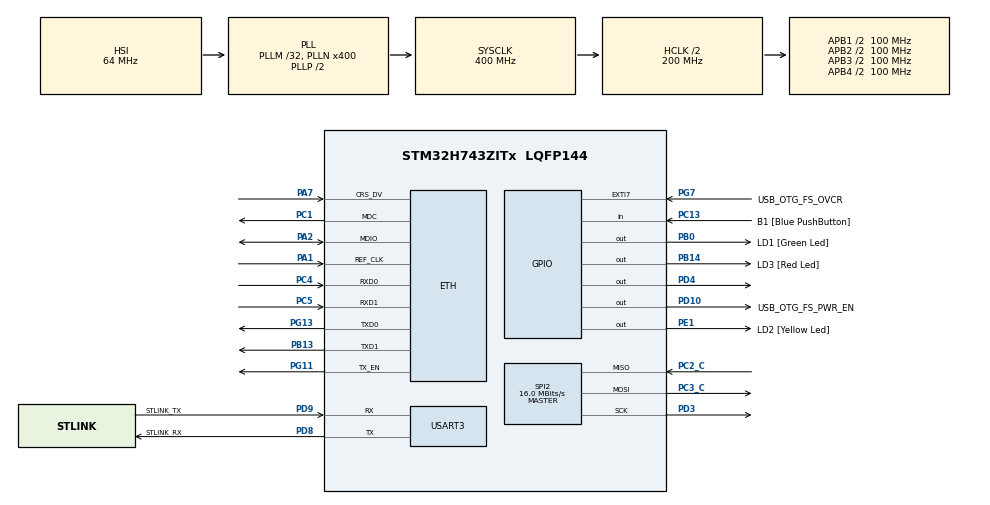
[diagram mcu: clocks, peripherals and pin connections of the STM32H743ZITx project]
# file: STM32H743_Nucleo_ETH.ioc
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CORTEX_M7.AccessPermission_S-Cortex_Memory_Protection_Unit_Region1_Settings_S=MPU_REGION_FULL_ACCESS
CORTEX_M7.AccessPermission_S-Cortex_Memory_Protection_Unit_Region2_Settings_S=MPU_REGION_FULL_ACCESS
CORTEX_M7.BaseAddress_S-Cortex_Memory_Protection_Unit_Region1_Settings_S=0x30020000
CORTEX_M7.BaseAddress_S-Cortex_Memory_Protection_Unit_Region2_Settings_S=0x30040000
CORTEX_M7.CPU_DCache=Enabled
CORTEX_M7.CPU_ICache=Enabled
CORTEX_M7.DisableExec_S-Cortex_Memory_Protection_Unit_Region1_Settings_S=MPU_INSTRUCTION_ACCESS_DISABLE
CORTEX_M7.DisableExec_S-Cortex_Memory_Protection_Unit_Region2_Settings_S=MPU_INSTRUCTION_ACCESS_DISABLE
CORTEX_M7.Enable_S-Cortex_Memory_Protection_Unit_Region1_Settings_S=MPU_REGION_ENABLE
CORTEX_M7.Enable_S-Cortex_Memory_Protection_Unit_Region2_Settings_S=MPU_REGION_ENABLE
CORTEX_M7.IsBufferable_S-Cortex_Memory_Protection_Unit_Region2_Settings_S=MPU_ACCESS_BUFFERABLE
CORTEX_M7.IsShareable_S-Cortex_Memory_Protection_Unit_Region2_Settings_S=MPU_ACCESS_SHAREABLE
CORTEX_M7.Size_S-Cortex_Memory_Protection_Unit_Region1_Settings_S=MPU_REGION_SIZE_128KB
CORTEX_M7.Size_S-Cortex_Memory_Protection_Unit_Region2_Settings_S=MPU_REGION_SIZE_512B
CORTEX_M7.TypeExtField_S-Cortex_Memory_Protection_Unit_Region1_Settings_S=MPU_TEX_LEVEL1
CORTEX_M7.default_mode_Activation=1
ETH.MediaInterface=HAL_ETH_RMII_MODE
ETH.RxBuffLen=1536
ETH.RxDescAddress=0x30040000
ETH.TxDescAddress=0x30040200
FREERTOS.Tasks01=defaultTask,24,16384,StartDefaultTask,Default,NULL,Dynamic,NULL,NULL
FREERTOS.configCHECK_FOR_STACK_OVERFLOW=1
FREERTOS.configMINIMAL_STACK_SIZE=512
FREERTOS.configTOTAL_HEAP_SIZE=131072
FREERTOS.configUSE_NEWLIB_REENTRANT=1
FREERTOS.configUSE_STATS_FORMATTING_FUNCTIONS=1
LWIP.BSP.number=1
LWIP.DEFAULT_THREAD_STACKSIZE=2048
LWIP.GATEWAY_ADDRESS=010.000.004.001
LWIP.IP_ADDRESS=100.000.004.090
LWIP.LWIP_DHCP=1
LWIP.LWIP_HTTPD=1
LWIP.LWIP_RAM_HEAP_POINTER=0x30020000
LWIP.MEM_SIZE=131048
LWIP.NETMASK_ADDRESS=255.255.255.000
LWIP.PBUF_POOL_BUFSIZE=592
LWIP.TCPIP_THREAD_STACKSIZE=2048
LWIP.TCP_MSS=1460
LWIP.TCP_SND_BUF=5840
LWIP.TCP_SND_QUEUELEN=16
LWIP.Version=v2.1.2_Cube
LWIP0.BSP.STBoard=false
LWIP0.BSP.api=BSP_COMPONENT_DRIVER
LWIP0.BSP.component=LAN8742
LWIP0.BSP.instance=LAN8742
LWIP0.BSP.name=Driver_PHY
LWIP0.BSP.semaphore=S_LAN8742
LWIP0.BSP.solution=LAN8742
Mcu.Family=STM32H7
Mcu.Name=STM32H743ZITx
Mcu.Package=LQFP144
NVIC.ETH_IRQn=true\:5\:0\:false\:false\:true\:true\:true\:true\:true
NVIC.PriorityGroup=NVIC_PRIORITYGROUP_4
NVIC.TIM6_DAC_IRQn=true\:15\:0\:false\:false\:true\:false\:false\:true\:true
NVIC.TimeBase=TIM6_DAC_IRQn
NVIC.TimeBaseIP=TIM6
PA1.GPIO_Speed=GPIO_SPEED_FREQ_VERY_HIGH
PA1.Mode=RMII
PA1.Signal=ETH_REF_CLK
PA11.Signal=USB_OTG_FS_DM
PA12.Signal=USB_OTG_FS_DP
PA2.GPIO_Speed=GPIO_SPEED_FREQ_VERY_HIGH
PA2.Mode=RMII
PA2.Signal=ETH_MDIO
PA7.GPIO_Speed=GPIO_SPEED_FREQ_VERY_HIGH
PA7.Mode=RMII
PA7.Signal=ETH_CRS_DV
PA8.Signal=USB_OTG_FS_SOF
PA9.Signal=USB_OTG_FS_VBUS
PB0.GPIO_Label=LD1 [Green Led]
PB0.Signal=GPIO_Output
PB13.GPIO_Speed=GPIO_SPEED_FREQ_VERY_HIGH
PB13.Mode=RMII
PB13.Signal=ETH_TXD1
PB14.GPIO_Label=LD3 [Red Led]
PB14.Signal=GPIO_Output
PC1.GPIO_Speed=GPIO_SPEED_FREQ_VERY_HIGH
PC1.Mode=RMII
PC1.Signal=ETH_MDC
PC13.GPIO_Label=B1 [Blue PushButton]
PC13.Signal=GPIO_Input
PC14-OSC32_IN\ (OSC32_IN).Signal=RCC_OSC32_IN
PC15-OSC32_OUT\ (OSC32_OUT).Signal=RCC_OSC32_OUT
PC2_C.GPIO_Speed=GPIO_SPEED_FREQ_VERY_HIGH
PC2_C.Mode=Full_Duplex_Master
PC2_C.Signal=SPI2_MISO
PC3_C.GPIO_Speed=GPIO_SPEED_FREQ_VERY_HIGH
PC3_C.Mode=Full_Duplex_Master
PC3_C.Signal=SPI2_MOSI
PC4.GPIO_Speed=GPIO_SPEED_FREQ_VERY_HIGH
PC4.Mode=RMII
PC4.Signal=ETH_RXD0
PC5.GPIO_Speed=GPIO_SPEED_FREQ_VERY_HIGH
PC5.Mode=RMII
PC5.Signal=ETH_RXD1
PD10.GPIO_Label=USB_OTG_FS_PWR_EN
PD10.Signal=GPIO_Output
PD3.GPIO_Speed=GPIO_SPEED_FREQ_VERY_HIGH
PD3.Mode=Full_Duplex_Master
PD3.Signal=SPI2_SCK
PD4.GPIO_ModeDefaultOutputPP=GPIO_MODE_OUTPUT_PP
PD4.GPIO_PuPd=GPIO_NOPULL
PD4.GPIO_Speed=GPIO_SPEED_FREQ_VERY_HIGH
PD4.PinState=GPIO_PIN_SET
PD4.Signal=GPIO_Output
PD8.GPIO_Label=STLINK_RX
PD8.Mode=Asynchronous
PD8.Signal=USART3_TX
PD9.GPIO_Label=STLINK_TX
PD9.Mode=Asynchronous
PD9.Signal=USART3_RX
PE1.GPIO_Label=LD2 [Yellow Led]
PE1.Signal=GPIO_Output
PG11.GPIO_Speed=GPIO_SPEED_FREQ_VERY_HIGH
PG11.Mode=RMII
PG11.Signal=ETH_TX_EN
PG13.GPIO_Speed=GPIO_SPEED_FREQ_VERY_HIGH
PG13.Mode=RMII
PG13.Signal=ETH_TXD0
PG7.GPIO_Label=USB_OTG_FS_OVCR
PG7.Signal=GPXTI7
PH0-OSC_IN\ (PH0).Signal=RCC_OSC_IN
PH1-OSC_OUT\ (PH1).Signal=RCC_OSC_OUT
ProjectManager.HeapSize=0x200
ProjectManager.StackSize=0x400
ProjectManager.TargetToolchain=STM32CubeIDE
RCC.ADCFreq_Value=129000000
RCC.APB1Freq_Value=100000000
RCC.APB2Freq_Value=100000000
RCC.APB3Freq_Value=100000000
RCC.APB4Freq_Value=100000000
RCC.CortexFreq_Value=400000000
RCC.D1PPRE=RCC_APB3_DIV2
RCC.D2PPRE1=RCC_APB1_DIV2
RCC.D2PPRE2=RCC_APB2_DIV2
RCC.D3PPRE=RCC_APB4_DIV2
RCC.DIVN1=400
RCC.HCLKFreq_Value=200000000
RCC.HPRE=RCC_HCLK_DIV2
RCC.SPI123CLockSelection=RCC_SPI123CLKSOURCE_CLKP
RCC.SYSCLKFreq_VALUE=400000000
RCC.SYSCLKSource=RCC_SYSCLKSOURCE_PLLCLK
RCC.USBFreq_Value=400000000
SPI2.BaudRatePrescaler=SPI_BAUDRATEPRESCALER_4
SPI2.CalculateBaudRate=16.0 MBits/s
SPI2.DataSize=SPI_DATASIZE_8BIT
SPI2.Direction=SPI_DIRECTION_2LINES
SPI2.Mode=SPI_MODE_MASTER
SPI2.NSSPMode=SPI_NSS_PULSE_ENABLE
SPI2.VirtualType=VM_MASTER
USART3.VirtualMode-Asynchronous=VM_ASYNC
VP_FREERTOS_VS_CMSIS_V2.Mode=CMSIS_V2
VP_LWIP_VS_Enabled.Mode=Enabled
VP_MEMORYMAP_VS_MEMORYMAP.Mode=CurAppReg
VP_RNG_VS_RNG.Mode=RNG_Activate
VP_RTC_VS_RTC_Activate.Mode=RTC_Enabled
VP_SYS_VS_tim6.Mode=TIM6
VP_wolfSSL.I-CUBE-wolfSSL_VS_wolfSSLJjwolfSSL_5.7.2_5.7.2.Mode=wolfSSLJjwolfSSL
VP_wolfSSL.I-CUBE-wolfTPM_VS_wolfTPMJjwolfTPM_3.4.0_3.4.0.Mode=wolfTPMJjwolfTPM
board=NUCLEO-H743ZI2
wolfSSL.I-CUBE-wolfSSL.5.7.2.WOLF_CONF_ARMASM=1
wolfSSL.I-CUBE-wolfSSL.5.7.2.WOLF_CONF_MATH=4
wolfSSL.I-CUBE-wolfSSL.5.7.2.WOLF_CONF_RTOS=2
wolfSSL.I-CUBE-wolfSSL.5.7.2.wolfSSLCcwolfSSLJjwolfCryptJjCore=true
wolfSSL.I-CUBE-wolfSSL.5.7.2.wolfSSLCcwolfSSLJjwolfCryptJjTest=true
wolfSSL.I-CUBE-wolfSSL.5.7.2.wolfSSLCcwolfSSLJjwolfSSLJjCore=true
wolfSSL.I-CUBE-wolfTPM.3.4.0.WOLFTPM_CONF_DEBUG=1
wolfSSL.I-CUBE-wolfTPM.3.4.0.WOLFTPM_CONF_HW_SPI=0
wolfSSL.I-CUBE-wolfTPM.3.4.0.WOLFTPM_CONF_SMALL_STACK=1
wolfSSL.I-CUBE-wolfTPM.3.4.0.wolfTPMCcwolfTPMJjwolfTPMJjCore=true
wolfSSL.I-CUBE-wolfTPM.3.4.0.wolfTPMCcwolfTPMJjwolfTPMJjTest=true

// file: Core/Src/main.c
/* USER CODE BEGIN Header */
/**
  ******************************************************************************
  * @file           : main.c
  * @brief          : Main program body
  ******************************************************************************
  * @attention
  *
  * Copyright (c) 2022 STMicroelectronics.
  * All rights reserved.
  *
  * This software is licensed under terms that can be found in the LICENSE file
  * in the root directory of this software component.
  * If no LICENSE file comes with this software, it is provided AS-IS.
  *
  ******************************************************************************
  */
/* USER CODE END Header */
#include "main.h"
#include "cmsis_os.h"
#include "lwip.h"

/* USER CODE BEGIN Includes */
#include <wolftpm/tpm2_wrap.h>
#include <hal/tpm_io.h>

#include "https_server_wolf.h"

/* ETH_CODE: add lwiperf, see comment in StartDefaultTask function */
#include "lwip/apps/lwiperf.h"
/* USER CODE END Includes */

RNG_HandleTypeDef hrng;

RTC_HandleTypeDef hrtc;

SPI_HandleTypeDef hspi2;

UART_HandleTypeDef huart3;

/* Definitions for defaultTask */
osThreadId_t defaultTaskHandle;
const osThreadAttr_t defaultTask_attributes = {
  .name = "defaultTask",
  .stack_size = 16384 * 4,
  .priority = (osPriority_t) osPriorityNormal,
};
/* USER CODE BEGIN PV */
WOLFTPM2_DEV dev;
/* USER CODE END PV */

void SystemClock_Config(void);
void PeriphCommonClock_Config(void);
static void MPU_Config(void);
static void MX_GPIO_Init(void);
static void MX_SPI2_Init(void);
static void MX_USART3_UART_Init(void);
static void MX_RNG_Init(void);
static void MX_RTC_Init(void);
void StartDefaultTask(void *argument);

/* USER CODE BEGIN PFP */
extern void wolf_shell(void *argument);
/* USER CODE END PFP */

/* USER CODE BEGIN 0 */
/**
  * @brief  Retargets the C library printf function to the USART.
  * @param  None
  * @retval None
  */
#include <stdio.h>
#ifdef __GNUC__
/* With GCC, small printf (option LD Linker->Libraries->Small printf
   set to 'Yes') calls __io_putchar() */
int __io_putchar(int ch)
#else
int fputc(int ch, FILE *f)
#endif /* __GNUC__ */
{
  /* Place your implementation of fputc here */
  /* e.g. write a character to the LPUART1 and Loop until the end of transmission */
  HAL_UART_Transmit(&huart3, (uint8_t *)&ch, 1, 0xFFFF);

  return ch;
}
#ifdef __GNUC__
int _write(int file,char *ptr, int len)
{
 int DataIdx;
 for(DataIdx= 0; DataIdx< len; DataIdx++)
 {
 __io_putchar(*ptr++);
 }
return len;
}
#endif
/* USER CODE END 0 */

int main(void)
{

  /* MPU Configuration--------------------------------------------------------*/
  MPU_Config();

  /* Enable the CPU Cache */

  /* Enable I-Cache---------------------------------------------------------*/
  SCB_EnableICache();

  /* Enable D-Cache---------------------------------------------------------*/
  SCB_EnableDCache();

  /* MCU Configuration--------------------------------------------------------*/

  /* Reset of all peripherals, Initializes the Flash interface and the Systick. */
  HAL_Init();

  /* USER CODE BEGIN Init */
  // Turn off buffers, so I/O occurs immediately
  setvbuf(stdin, NULL, _IONBF, 0);
  setvbuf(stdout, NULL, _IONBF, 0);
  setvbuf(stderr, NULL, _IONBF, 0);
  /* USER CODE END Init */

  /* Configure the system clock */
  SystemClock_Config();

  /* Configure the peripherals common clocks */
  PeriphCommonClock_Config();

  /* Initialize all configured peripherals */
  MX_GPIO_Init();
  MX_SPI2_Init();
  MX_USART3_UART_Init();
  MX_RNG_Init();
  MX_RTC_Init();
  /* USER CODE BEGIN 2 */
  printf("Starting HTTPS w/TPM Demo\n");
  /* USER CODE END 2 */

  /* Init scheduler */
  osKernelInitialize();

  /* Create the thread(s) */
  /* creation of defaultTask */
  defaultTaskHandle = osThreadNew(StartDefaultTask, NULL, &defaultTask_attributes);

  /* Start scheduler */
  osKernelStart();

  /* We should never get here as control is now taken by the scheduler */

  /* Infinite loop */
  while (1)
  {

  }
}

void SystemClock_Config(void)
{
  RCC_OscInitTypeDef RCC_OscInitStruct = {0};
  RCC_ClkInitTypeDef RCC_ClkInitStruct = {0};

  /** Supply configuration update enable
  */
  HAL_PWREx_ConfigSupply(PWR_LDO_SUPPLY);

  /** Configure the main internal regulator output voltage
  */
  __HAL_PWR_VOLTAGESCALING_CONFIG(PWR_REGULATOR_VOLTAGE_SCALE1);

  while(!__HAL_PWR_GET_FLAG(PWR_FLAG_VOSRDY)) {}

  /** Initializes the RCC Oscillators according to the specified parameters
  * in the RCC_OscInitTypeDef structure.
  */
  RCC_OscInitStruct.OscillatorType = RCC_OSCILLATORTYPE_HSI48|RCC_OSCILLATORTYPE_HSI
                              |RCC_OSCILLATORTYPE_LSI;
  RCC_OscInitStruct.HSIState = RCC_HSI_DIV1;
  RCC_OscInitStruct.HSICalibrationValue = RCC_HSICALIBRATION_DEFAULT;
  RCC_OscInitStruct.LSIState = RCC_LSI_ON;
  RCC_OscInitStruct.HSI48State = RCC_HSI48_ON;
  RCC_OscInitStruct.PLL.PLLState = RCC_PLL_ON;
  RCC_OscInitStruct.PLL.PLLSource = RCC_PLLSOURCE_HSI;
  RCC_OscInitStruct.PLL.PLLM = 32;
  RCC_OscInitStruct.PLL.PLLN = 400;
  RCC_OscInitStruct.PLL.PLLP = 2;
  RCC_OscInitStruct.PLL.PLLQ = 2;
  RCC_OscInitStruct.PLL.PLLR = 2;
  RCC_OscInitStruct.PLL.PLLRGE = RCC_PLL1VCIRANGE_1;
  RCC_OscInitStruct.PLL.PLLVCOSEL = RCC_PLL1VCOWIDE;
  RCC_OscInitStruct.PLL.PLLFRACN = 0;
  if (HAL_RCC_OscConfig(&RCC_OscInitStruct) != HAL_OK)
  {
    Error_Handler();
  }

  /** Initializes the CPU, AHB and APB buses clocks
  */
  RCC_ClkInitStruct.ClockType = RCC_CLOCKTYPE_HCLK|RCC_CLOCKTYPE_SYSCLK
                              |RCC_CLOCKTYPE_PCLK1|RCC_CLOCKTYPE_PCLK2
                              |RCC_CLOCKTYPE_D3PCLK1|RCC_CLOCKTYPE_D1PCLK1;
  RCC_ClkInitStruct.SYSCLKSource = RCC_SYSCLKSOURCE_PLLCLK;
  RCC_ClkInitStruct.SYSCLKDivider = RCC_SYSCLK_DIV1;
  RCC_ClkInitStruct.AHBCLKDivider = RCC_HCLK_DIV2;
  RCC_ClkInitStruct.APB3CLKDivider = RCC_APB3_DIV2;
  RCC_ClkInitStruct.APB1CLKDivider = RCC_APB1_DIV2;
  RCC_ClkInitStruct.APB2CLKDivider = RCC_APB2_DIV2;
  RCC_ClkInitStruct.APB4CLKDivider = RCC_APB4_DIV2;

  if (HAL_RCC_ClockConfig(&RCC_ClkInitStruct, FLASH_LATENCY_2) != HAL_OK)
  {
    Error_Handler();
  }
}

void PeriphCommonClock_Config(void)
{
  RCC_PeriphCLKInitTypeDef PeriphClkInitStruct = {0};

  /** Initializes the peripherals clock
  */
  PeriphClkInitStruct.PeriphClockSelection = RCC_PERIPHCLK_CKPER;
  PeriphClkInitStruct.CkperClockSelection = RCC_CLKPSOURCE_HSI;
  if (HAL_RCCEx_PeriphCLKConfig(&PeriphClkInitStruct) != HAL_OK)
  {
    Error_Handler();
  }
}

static void MX_RNG_Init(void)
{

  hrng.Instance = RNG;
  hrng.Init.ClockErrorDetection = RNG_CED_ENABLE;
  if (HAL_RNG_Init(&hrng) != HAL_OK)
  {
    Error_Handler();
  }

}

static void MX_RTC_Init(void)
{

  /** Initialize RTC Only
  */
  hrtc.Instance = RTC;
  hrtc.Init.HourFormat = RTC_HOURFORMAT_24;
  hrtc.Init.AsynchPrediv = 127;
  hrtc.Init.SynchPrediv = 255;
  hrtc.Init.OutPut = RTC_OUTPUT_DISABLE;
  hrtc.Init.OutPutPolarity = RTC_OUTPUT_POLARITY_HIGH;
  hrtc.Init.OutPutType = RTC_OUTPUT_TYPE_OPENDRAIN;
  hrtc.Init.OutPutRemap = RTC_OUTPUT_REMAP_NONE;
  if (HAL_RTC_Init(&hrtc) != HAL_OK)
  {
    Error_Handler();
  }

}

static void MX_SPI2_Init(void)
{

  /* SPI2 parameter configuration*/
  hspi2.Instance = SPI2;
  hspi2.Init.Mode = SPI_MODE_MASTER;
  hspi2.Init.Direction = SPI_DIRECTION_2LINES;
  hspi2.Init.DataSize = SPI_DATASIZE_8BIT;
  hspi2.Init.CLKPolarity = SPI_POLARITY_LOW;
  hspi2.Init.CLKPhase = SPI_PHASE_1EDGE;
  hspi2.Init.NSS = SPI_NSS_SOFT;
  hspi2.Init.BaudRatePrescaler = SPI_BAUDRATEPRESCALER_4;
  hspi2.Init.FirstBit = SPI_FIRSTBIT_MSB;
  hspi2.Init.TIMode = SPI_TIMODE_DISABLE;
  hspi2.Init.CRCCalculation = SPI_CRCCALCULATION_DISABLE;
  hspi2.Init.CRCPolynomial = 0x0;
  hspi2.Init.NSSPMode = SPI_NSS_PULSE_ENABLE;
  hspi2.Init.NSSPolarity = SPI_NSS_POLARITY_LOW;
  hspi2.Init.FifoThreshold = SPI_FIFO_THRESHOLD_01DATA;
  hspi2.Init.TxCRCInitializationPattern = SPI_CRC_INITIALIZATION_ALL_ZERO_PATTERN;
  hspi2.Init.RxCRCInitializationPattern = SPI_CRC_INITIALIZATION_ALL_ZERO_PATTERN;
  hspi2.Init.MasterSSIdleness = SPI_MASTER_SS_IDLENESS_00CYCLE;
  hspi2.Init.MasterInterDataIdleness = SPI_MASTER_INTERDATA_IDLENESS_00CYCLE;
  hspi2.Init.MasterReceiverAutoSusp = SPI_MASTER_RX_AUTOSUSP_DISABLE;
  hspi2.Init.MasterKeepIOState = SPI_MASTER_KEEP_IO_STATE_DISABLE;
  hspi2.Init.IOSwap = SPI_IO_SWAP_DISABLE;
  if (HAL_SPI_Init(&hspi2) != HAL_OK)
  {
    Error_Handler();
  }

}

static void MX_USART3_UART_Init(void)
{

  huart3.Instance = USART3;
  huart3.Init.BaudRate = 115200;
  huart3.Init.WordLength = UART_WORDLENGTH_8B;
  huart3.Init.StopBits = UART_STOPBITS_1;
  huart3.Init.Parity = UART_PARITY_NONE;
  huart3.Init.Mode = UART_MODE_TX_RX;
  huart3.Init.HwFlowCtl = UART_HWCONTROL_NONE;
  huart3.Init.OverSampling = UART_OVERSAMPLING_16;
  huart3.Init.OneBitSampling = UART_ONE_BIT_SAMPLE_DISABLE;
  huart3.Init.ClockPrescaler = UART_PRESCALER_DIV1;
  huart3.AdvancedInit.AdvFeatureInit = UART_ADVFEATURE_NO_INIT;
  if (HAL_UART_Init(&huart3) != HAL_OK)
  {
    Error_Handler();
  }
  if (HAL_UARTEx_SetTxFifoThreshold(&huart3, UART_TXFIFO_THRESHOLD_1_8) != HAL_OK)
  {
    Error_Handler();
  }
  if (HAL_UARTEx_SetRxFifoThreshold(&huart3, UART_RXFIFO_THRESHOLD_1_8) != HAL_OK)
  {
    Error_Handler();
  }
  if (HAL_UARTEx_DisableFifoMode(&huart3) != HAL_OK)
  {
    Error_Handler();
  }

}

static void MX_GPIO_Init(void)
{
  GPIO_InitTypeDef GPIO_InitStruct = {0};

  /* GPIO Ports Clock Enable */
  __HAL_RCC_GPIOC_CLK_ENABLE();
  __HAL_RCC_GPIOH_CLK_ENABLE();
  __HAL_RCC_GPIOA_CLK_ENABLE();
  __HAL_RCC_GPIOB_CLK_ENABLE();
  __HAL_RCC_GPIOD_CLK_ENABLE();
  __HAL_RCC_GPIOG_CLK_ENABLE();
  __HAL_RCC_GPIOE_CLK_ENABLE();

  /*Configure GPIO pin Output Level */
  HAL_GPIO_WritePin(GPIOB, LD1_Pin|LD3_Pin, GPIO_PIN_RESET);

  /*Configure GPIO pin Output Level */
  HAL_GPIO_WritePin(USB_OTG_FS_PWR_EN_GPIO_Port, USB_OTG_FS_PWR_EN_Pin, GPIO_PIN_RESET);

  /*Configure GPIO pin Output Level */
  HAL_GPIO_WritePin(GPIOD, GPIO_PIN_4, GPIO_PIN_SET);

  /*Configure GPIO pin Output Level */
  HAL_GPIO_WritePin(LD2_GPIO_Port, LD2_Pin, GPIO_PIN_RESET);

  /*Configure GPIO pin : B1_Pin */
  GPIO_InitStruct.Pin = B1_Pin;
  GPIO_InitStruct.Mode = GPIO_MODE_INPUT;
  GPIO_InitStruct.Pull = GPIO_NOPULL;
  HAL_GPIO_Init(B1_GPIO_Port, &GPIO_InitStruct);

  /*Configure GPIO pins : LD1_Pin LD3_Pin */
  GPIO_InitStruct.Pin = LD1_Pin|LD3_Pin;
  GPIO_InitStruct.Mode = GPIO_MODE_OUTPUT_PP;
  GPIO_InitStruct.Pull = GPIO_NOPULL;
  GPIO_InitStruct.Speed = GPIO_SPEED_FREQ_LOW;
  HAL_GPIO_Init(GPIOB, &GPIO_InitStruct);

  /*Configure GPIO pin : USB_OTG_FS_PWR_EN_Pin */
  GPIO_InitStruct.Pin = USB_OTG_FS_PWR_EN_Pin;
  GPIO_InitStruct.Mode = GPIO_MODE_OUTPUT_PP;
  GPIO_InitStruct.Pull = GPIO_NOPULL;
  GPIO_InitStruct.Speed = GPIO_SPEED_FREQ_LOW;
  HAL_GPIO_Init(USB_OTG_FS_PWR_EN_GPIO_Port, &GPIO_InitStruct);

  /*Configure GPIO pin : USB_OTG_FS_OVCR_Pin */
  GPIO_InitStruct.Pin = USB_OTG_FS_OVCR_Pin;
  GPIO_InitStruct.Mode = GPIO_MODE_IT_RISING;
  GPIO_InitStruct.Pull = GPIO_NOPULL;
  HAL_GPIO_Init(USB_OTG_FS_OVCR_GPIO_Port, &GPIO_InitStruct);

  /*Configure GPIO pins : PA8 PA11 PA12 */
  GPIO_InitStruct.Pin = GPIO_PIN_8|GPIO_PIN_11|GPIO_PIN_12;
  GPIO_InitStruct.Mode = GPIO_MODE_AF_PP;
  GPIO_InitStruct.Pull = GPIO_NOPULL;
  GPIO_InitStruct.Speed = GPIO_SPEED_FREQ_LOW;
  GPIO_InitStruct.Alternate = GPIO_AF10_OTG1_FS;
  HAL_GPIO_Init(GPIOA, &GPIO_InitStruct);

  /*Configure GPIO pin : PD4 */
  GPIO_InitStruct.Pin = GPIO_PIN_4;
  GPIO_InitStruct.Mode = GPIO_MODE_OUTPUT_PP;
  GPIO_InitStruct.Pull = GPIO_NOPULL;
  GPIO_InitStruct.Speed = GPIO_SPEED_FREQ_VERY_HIGH;
  HAL_GPIO_Init(GPIOD, &GPIO_InitStruct);

  /*Configure GPIO pin : LD2_Pin */
  GPIO_InitStruct.Pin = LD2_Pin;
  GPIO_InitStruct.Mode = GPIO_MODE_OUTPUT_PP;
  GPIO_InitStruct.Pull = GPIO_NOPULL;
  GPIO_InitStruct.Speed = GPIO_SPEED_FREQ_LOW;
  HAL_GPIO_Init(LD2_GPIO_Port, &GPIO_InitStruct);

}

void StartDefaultTask(void *argument)
{
  /* init code for LWIP */
  MX_LWIP_Init();
  /* USER CODE BEGIN 5 */

  int rc = wolfTPM2_Init(&dev, TPM2_IoCb, TPM2_IOCB_CTX);
  if (rc != 0) {
    printf("TPM Init failed! %d\n", rc);
  }

#if 0 /* iperf */
  LOCK_TCPIP_CORE();
  /* ETH_CODE: Adding lwiperf to measure TCP/IP performance.
   * iperf 2.0.6 (or older?) is required for the tests. Newer iperf2 versions
   * might work without data check, but they send different headers.
   * iperf3 is not compatible at all.
   * Adding lwiperf.c file to the project is necessary.
   * The default include path should already contain
   * 'lwip/apps/lwiperf.h'
   */

  lwiperf_start_tcp_server_default(NULL, NULL);

  ip4_addr_t remote_addr;
  IP4_ADDR(&remote_addr, 192, 168, 1, 1);
  lwiperf_start_tcp_client_default(&remote_addr, NULL, NULL);
  UNLOCK_TCPIP_CORE();
#endif

  /* Start HTTPS server */
  https_server_wolf_init();

  /* run wolfCrypt demo shell */
  wolf_shell(NULL);

  wolfTPM2_Cleanup(&dev);
  /* USER CODE END 5 */
}

 /* MPU Configuration */

void MPU_Config(void)
{
  MPU_Region_InitTypeDef MPU_InitStruct = {0};

  /* Disables the MPU */
  HAL_MPU_Disable();

  /** Initializes and configures the Region and the memory to be protected
  */
  MPU_InitStruct.Enable = MPU_REGION_ENABLE;
  MPU_InitStruct.Number = MPU_REGION_NUMBER0;
  MPU_InitStruct.BaseAddress = 0x0;
  MPU_InitStruct.Size = MPU_REGION_SIZE_4GB;
  MPU_InitStruct.SubRegionDisable = 0x87;
  MPU_InitStruct.TypeExtField = MPU_TEX_LEVEL0;
  MPU_InitStruct.AccessPermission = MPU_REGION_NO_ACCESS;
  MPU_InitStruct.DisableExec = MPU_INSTRUCTION_ACCESS_DISABLE;
  MPU_InitStruct.IsShareable = MPU_ACCESS_SHAREABLE;
  MPU_InitStruct.IsCacheable = MPU_ACCESS_NOT_CACHEABLE;
  MPU_InitStruct.IsBufferable = MPU_ACCESS_NOT_BUFFERABLE;

  HAL_MPU_ConfigRegion(&MPU_InitStruct);

  /** Initializes and configures the Region and the memory to be protected
  */
  MPU_InitStruct.Number = MPU_REGION_NUMBER1;
  MPU_InitStruct.BaseAddress = 0x30020000;
  MPU_InitStruct.Size = MPU_REGION_SIZE_128KB;
  MPU_InitStruct.SubRegionDisable = 0x0;
  MPU_InitStruct.TypeExtField = MPU_TEX_LEVEL1;
  MPU_InitStruct.AccessPermission = MPU_REGION_FULL_ACCESS;
  MPU_InitStruct.IsShareable = MPU_ACCESS_NOT_SHAREABLE;

  HAL_MPU_ConfigRegion(&MPU_InitStruct);

  /** Initializes and configures the Region and the memory to be protected
  */
  MPU_InitStruct.Number = MPU_REGION_NUMBER2;
  MPU_InitStruct.BaseAddress = 0x30040000;
  MPU_InitStruct.Size = MPU_REGION_SIZE_512B;
  MPU_InitStruct.TypeExtField = MPU_TEX_LEVEL0;
  MPU_InitStruct.IsShareable = MPU_ACCESS_SHAREABLE;
  MPU_InitStruct.IsBufferable = MPU_ACCESS_BUFFERABLE;

  HAL_MPU_ConfigRegion(&MPU_InitStruct);
  /* Enables the MPU */
  HAL_MPU_Enable(MPU_PRIVILEGED_DEFAULT);

}

void HAL_TIM_PeriodElapsedCallback(TIM_HandleTypeDef *htim)
{
  if (htim->Instance == TIM6) {
    HAL_IncTick();
  }
}

void Error_Handler(void)
{
  __disable_irq();
  while (1)
  {
  }
}

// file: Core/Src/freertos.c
/* USER CODE BEGIN Header */
/**
  ******************************************************************************
  * File Name          : freertos.c
  * Description        : Code for freertos applications
  ******************************************************************************
  * @attention
  *
  * Copyright (c) 2022 STMicroelectronics.
  * All rights reserved.
  *
  * This software is licensed under terms that can be found in the LICENSE file
  * in the root directory of this software component.
  * If no LICENSE file comes with this software, it is provided AS-IS.
  *
  ******************************************************************************
  */
/* USER CODE END Header */

#include "FreeRTOS.h"
#include "task.h"
#include "main.h"

/* Hook prototypes */
void vApplicationStackOverflowHook(xTaskHandle xTask, signed char *pcTaskName);

/* USER CODE BEGIN 4 */
void vApplicationStackOverflowHook(xTaskHandle xTask, signed char *pcTaskName)
{
   /* ETH_CODE: add breakpoint when stack overflow is detected by FreeRTOS.
    * Useful for debugging issues.
    */
   __BKPT(0);
}
/* USER CODE END 4 */
